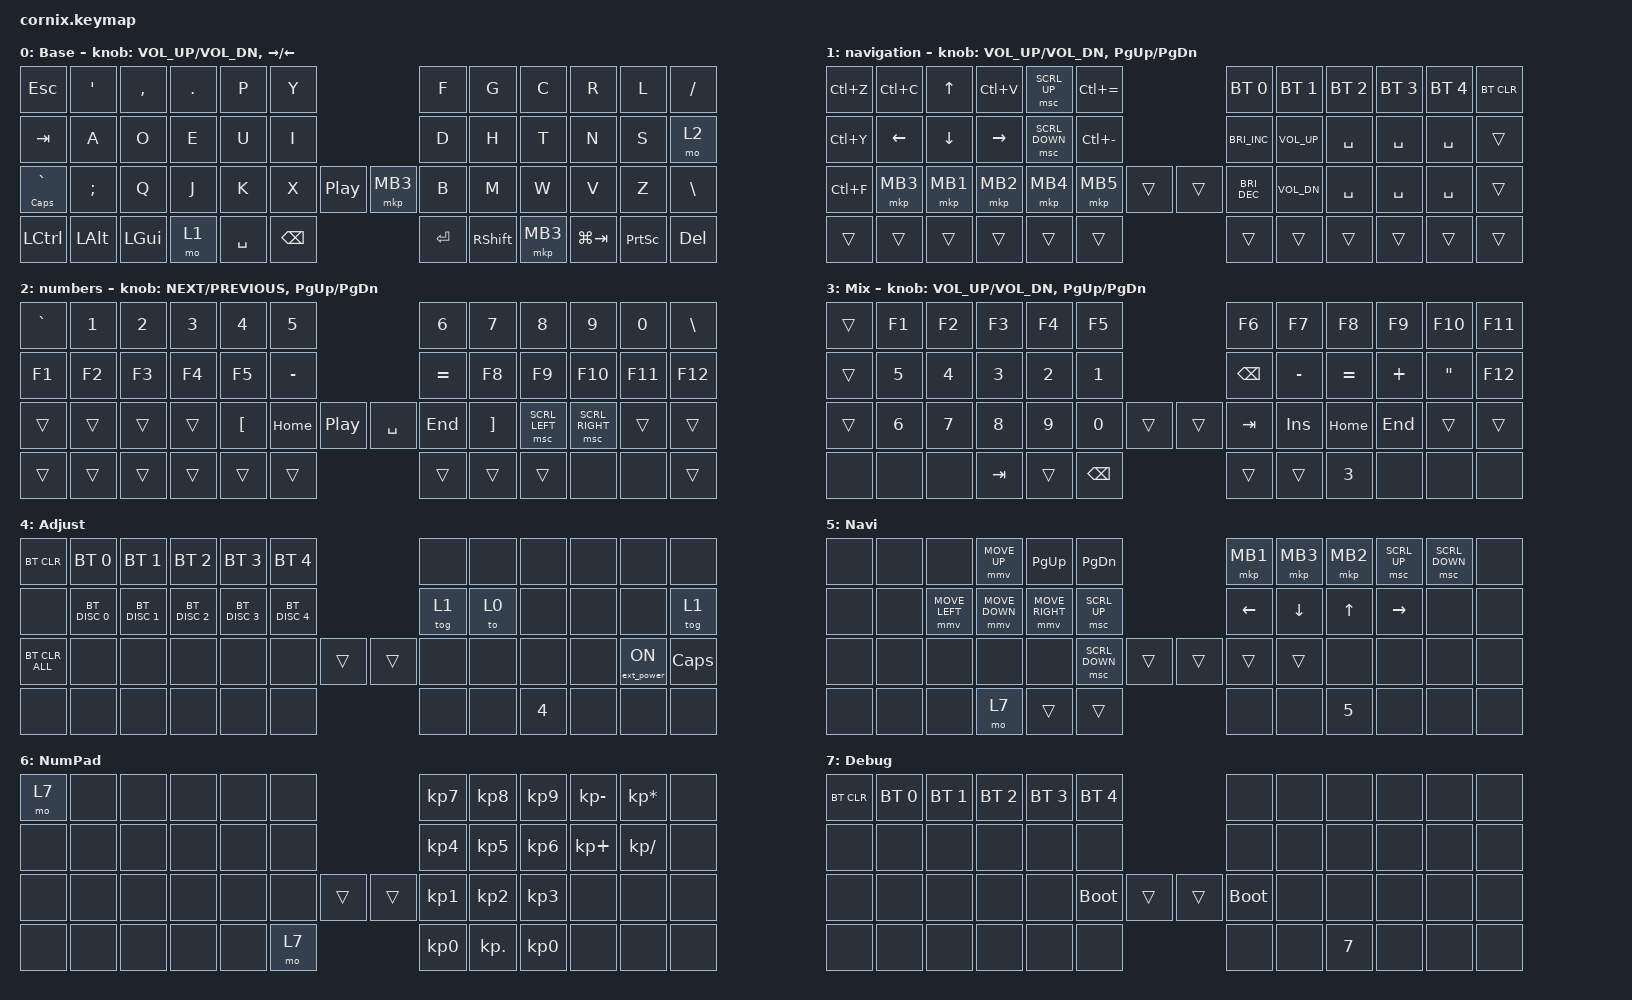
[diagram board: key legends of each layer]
/*
 * Copyright (c) 2020 The ZMK Contributors
 *
 * SPDX-License-Identifier: MIT
 */

#include "zmk-helpers/helper.h"
#include "includes/cornix54.h"

// tap windows for ctl alt and gui

#define HM_TAPPING_TERM 250
#define HM_TAPPING_REPEAT 210

// quick tapping for shift

#define HM_TAPPING_TERM_FAST 200
#define HM_PRIOR_IDLE 70
#define BASE 0
#define WIN 1
#define LOWER 2
#define RAISE 3
#define ADJUST 4
#define NAVI   5
#define NUM    6
#define DEBUG  7

// https://github.com/urob/zmk-config/tree/main#timeless-homerow-mods

#define KEYS_L LT0 LT1 LT2 LT3 LT4 LT5 LM0 LM1 LM2 LM3 LM4 LM5 LB0 LB1 LB2 LB3 LB4 LB5  // left hand
#define KEYS_R RT0 RT1 RT2 RT3 RT4 RT5 RM0 RM1 RM2 RM3 RM4 RM5 RB0 RB1 RB2 RB3 RB4 RB5  // right hand
#define THUMBS LH1 LH0 RH0 RH1
#define KEYS_T LH1 LH0 RH0 RH1
#define ZMK_POINTING_DEFAULT_SCRL_VAL 15

#include <behaviors.dtsi>
#include <dt-bindings/zmk/bt.h>
#include <dt-bindings/zmk/ext_power.h>
#include <dt-bindings/zmk/keys.h>
#include <dt-bindings/zmk/pointing.h>

/ {
    // Activate ADJUST layer by pressing raise and lower

    behaviors {
        hm_l: homerow_mods_left {
            compatible = "zmk,behavior-hold-tap";
            #binding-cells = <2>;
            bindings = <&kp>, <&kp>;

            flavor = "balanced";
            tapping-term-ms = <HM_TAPPING_TERM>;
            quick-tap-ms = <200>;                // repeat on tap-into-hold
            require-prior-idle-ms = <HM_PRIOR_IDLE>;
            hold-trigger-key-positions = <KEYS_R KEYS_T>;
            hold-trigger-on-release;
        };

        hm_r: homerow_mods_right {
            compatible = "zmk,behavior-hold-tap";
            #binding-cells = <2>;
            bindings = <&kp>, <&kp>;

            flavor = "balanced";
            tapping-term-ms = <HM_TAPPING_TERM>;
            quick-tap-ms = <200>;
            require-prior-idle-ms = <HM_PRIOR_IDLE>;
            hold-trigger-key-positions = <KEYS_L KEYS_T>;
            hold-trigger-on-release;
        };

        // Positional Homerow mods for shift
        // Use faster tapping term and disable some features that may
        // cause false negatives.

        hm_shift_l: hm_shift_l {
            compatible = "zmk,behavior-hold-tap";
            #binding-cells = <2>;
            bindings = <&kp>, <&kp>;

            //flavor = "balanced";

            flavor = "balanced";
            tapping-term-ms = <HM_TAPPING_TERM_FAST>;
            quick-tap-ms = <200>;
            require-prior-idle-ms = <HM_PRIOR_IDLE>;
            hold-trigger-key-positions = <KEYS_R KEYS_T>;
            hold-trigger-on-release;
        };

        hm_shift_r: hm_shift_r {
            compatible = "zmk,behavior-hold-tap";
            #binding-cells = <2>;
            bindings = <&kp>, <&kp>;

            flavor = "balanced";
            tapping-term-ms = <HM_TAPPING_TERM_FAST>;
            quick-tap-ms = <200>;
            require-prior-idle-ms = <HM_PRIOR_IDLE>;
            hold-trigger-key-positions = <KEYS_L KEYS_T>;

            // for quick tapping; shift+~

            hold-trigger-on-release;
        };

        /*
         * Non-Positional Homerow Mods
         * Used for &mm_grescm_gui behavior on left hand.
         *
         * Usage: &hm LSHFT T
         * Tap: T
         * Tap-Tap-Hold: Repeat T
         * Hold: LSHIFT
         */

        hm: homerow_mods {
            compatible = "zmk,behavior-hold-tap";
            #binding-cells = <2>;
            bindings = <&kp>, <&kp>;

            flavor = "balanced";
            tapping-term-ms = <HM_TAPPING_TERM>;
            quick-tap-ms = <200>;
        };

        lt: layer_tap {
            compatible = "zmk,behavior-hold-tap";
            #binding-cells = <2>;
            bindings = <&mo>, <&kp>;

            flavor = "hold-preferred";
            tapping-term-ms = <HM_TAPPING_TERM>;
            quick-tap-ms = <200>;
        };
    };

    conditional_layers {
        compatible = "zmk,conditional-layers";

        adjust_layer {
            if-layers = <3 3>;
            then-layer = <4>;
        };
    };

    combos {
        compatible = "zmk,combos";

        cb_ltm {
            bindings = <&kp ESC>;
            key-positions = <2 4>;
            layers = <0 1>;
        };

        cb_lm {
            bindings = <&kp TAB>;
            key-positions = <14 16>;
            layers = <0 1>;
        };

        cb_enter {
            bindings = <&kp RET>;
            key-positions = <21 19>;
            layers = <0 1>;
        };

        layer3 {
            bindings = <&kp N3>;
            key-positions = <5 6>;
        };

        layer4 {
            bindings = <&kp N4>;
            key-positions = <5 6>;
        };
    };

    keymap {
        compatible = "zmk,keymap";

        dvorak {
            display-name = "Base";

            // ------------------------------------------------------------------------------------------------------------
            // |   `   |  1  |  2  |  3   |  4   |  5   |                   |  6   |  7    |  8    |  9   |   0   |       |
            // |  ESC  |  Q  |  W  |  E   |  R   |  T   |                   |  Y   |  U    |  I    |  O   |   P   | BKSPC |
            // |  TAB  |  A  |  S  |  D   |  F   |  G   |                   |  H   |  J    |  K    |  L   |   ;   |   '   |
            // | SHIFT |  Z  |  X  |  C   |  V   |  B   |  MUTE  |  |       |  N   |  M    |  ,    |  .   |   /   | SHIFT |
            //               | GUI | ALT  | CTRL | LOWER|  ENTER |  | SPACE | RAISE| CTRL  | ALT   | GUI  |

            bindings = <
&kp ESC             &kp SQT       &kp COMMA  &kp PERIOD  &kp P      &kp Y                                 &kp F    &kp G      &kp C     &kp R        &kp L            &kp FSLH
&kp TAB             &kp A         &kp O      &kp E       &kp U      &kp I                                 &kp D    &kp H      &kp T     &kp N        &kp S            &mo 2
&mt CAPSLOCK GRAVE  &kp SEMI      &kp Q      &kp J       &kp K      &kp X     &kp C_PLAY_PAUSE  &mkp MB3  &kp B    &kp M      &kp W     &kp V        &kp Z            &kp BACKSLASH
&kp LCTRL           &kp LEFT_ALT  &kp LGUI   &mo 1       &kp SPACE  &kp BSPC                              &kp RET  &kp RSHFT  &mkp MB3  &kp LG(TAB)  &kp PRINTSCREEN  &kp DEL
            >;

            sensor-bindings =
                <&inc_dec_kp C_VOL_UP C_VOL_DN>,
                <&inc_dec_kp RIGHT LEFT_ARROW>;
        };

        navs {
            display-name = "navigation";

            // TODO: Some binds are waiting for shifted keycode support.
            // -------------------------------
            // |       |  F1 |  F2 |  F3  |  F4  |  F5  |                   |  F6  |  F7   |  F8   |  F9  |  F10  |  F11  |
            // |   `   |  1  |  2  |  3   |  4   |  5   |                   |  6   |  7    |  8    |  9   |   0   |  F12  |
            // |       |  !  |  @  |  #   |  $   |  %   |                   |  ^   |  &    |  *    |  (   |   )   |   |   |
            // |       |  =  |  -  |  +   |  {   |  }   |        |  |       |  [   |  ]    |  ;    |  :   |   \   |       |
            //               |     |      |      |      |        |  |       |      |       |       |      |

            bindings = <
&kp LC(Z)  &kp LC(C)  &kp UP    &kp LC(V)  &msc SCRL_UP    &kp LC(EQUAL)                  &bt BT_SEL 0          &bt BT_SEL 1  &bt BT_SEL 2  &bt BT_SEL 3  &bt BT_SEL 4  &bt BT_CLR
&kp LC(Y)  &kp LEFT   &kp DOWN  &kp RIGHT  &msc SCRL_DOWN  &kp LC(MINUS)                  &kp C_BRIGHTNESS_INC  &kp C_VOL_UP  &kp SPACE     &kp SPACE     &kp SPACE     &trans
&kp LC(F)  &mkp MB3   &mkp MB1  &mkp MB2   &mkp MB4        &mkp MB5       &trans  &trans  &kp C_BRIGHTNESS_DEC  &kp C_VOL_DN  &kp SPACE     &kp SPACE     &kp SPACE     &trans
&trans     &trans     &trans    &trans     &trans          &trans                         &trans                &trans        &trans        &trans        &trans        &trans
            >;

            sensor-bindings = <&inc_dec_kp C_VOL_UP C_VOL_DN &inc_dec_kp PG_UP PG_DN>;
        };

        nums {
            display-name = "numbers";

            // ------------------------------------------------------------------------------------------------------------
            // |   `   |  1  |  2  |  3   |  4   |  5   |                   |  6   |  7    |  8    |  9   |   0   |       |
            // |  ESC  |  Q  |  W  |  E   |  R   |  T   |                   |  Y   |  U    |  I    |  O   |   P   | BKSPC |
            // |  TAB  |  A  |  S  |  D   |  F   |  G   |                   |  H   |  J    |  K    |  L   |   ;   |   '   |
            // | SHIFT |  Z  |  X  |  C   |  V   |  B   |  MUTE  |  |       |  N   |  M    |  ,    |  .   |   /   | SHIFT |
            //               | GUI | ALT  | CTRL | LOWER|  ENTER |  | SPACE | RAISE| CTRL  | ALT   | GUI  |

            bindings = <
&kp GRAVE  &kp N1  &kp N2  &kp N3  &kp N4    &kp N5                                  &kp N6     &kp N7    &kp N8          &kp N9           &kp N0   &kp BSLH
&kp F1     &kp F2  &kp F3  &kp F4  &kp F5    &kp MINUS                               &kp EQUAL  &kp F8    &kp F9          &kp F10          &kp F11  &kp F12
&trans     &trans  &trans  &trans  &kp LBKT  &kp HOME   &kp C_PLAY_PAUSE  &kp SPACE  &kp END    &kp RBKT  &msc SCRL_LEFT  &msc SCRL_RIGHT  &trans   &trans
&trans     &trans  &trans  &trans  &trans    &trans                                  &trans     &trans    &trans          &none            &none    &trans
            >;

            sensor-bindings =
                <&inc_dec_kp C_NEXT C_PREVIOUS>,
                <&inc_dec_kp PG_UP PG_DN>;
        };

        Mix_layer {
            display-name = "Mix";

            // ------------------------------------------------------------------------------------------------------------
            // | BTCLR | BT1  | BT2  |  BT3  |  BT4  |  BT5 |                |      |      |       |      |       |       |
            // |       | INS  | PSCR | GUI   |       |      |                | PGUP |      |   ^   |      |       |       |
            // |       | ALT  | CTRL | SHIFT |       | CAPS |                | PGDN |   <- |   v   |  ->  |  DEL  | BKSPC |
            // |       | UNDO | CUT  | COPY  | PASTE |      |      |  |      |      |      |       |      |       |       |
            //                |      |       |       |      |      |  |      |      |      |       |      |

            bindings = <
&trans  &kp F1  &kp F2  &kp F3   &kp F4  &kp F5                         &kp F6    &kp F7     &kp F8     &kp F9    &kp F10  &kp F11
&trans  &kp N5  &kp N4  &kp N3   &kp N2  &kp N1                         &kp BSPC  &kp MINUS  &kp EQUAL  &kp PLUS  &kp DQT  &kp F12
&trans  &kp N6  &kp N7  &kp N8   &kp N9  &kp N0         &trans  &trans  &kp TAB   &kp INS    &kp HOME   &kp END   &trans   &trans
&none   &none   &none   &kp TAB  &trans  &kp BACKSPACE                  &trans    &trans     &kp N3     &none     &none    &none
            >;

            sensor-bindings = <&inc_dec_kp C_VOL_UP C_VOL_DN &inc_dec_kp PG_UP PG_DN>;
        };

        Adjust_layer {
            display-name = "Adjust";

            // ----------------------------------------------------------------------------------------------------------------------------
            // | BTCLR  |  BT1    |  BT2    |   BT3   |   BT4   |   BT5   |                  |      |      |       |      |       |       |
            // | moDEBUG| RGB_HUD | RGB_HUI | RGB_SAD | RGB_SAI | RGB_EFF |                  |      |      |       |      |       |       |
            // | EXTPWR | RGB_BRD | RGB_BRI |         |         |         |                  |      |      |       |      |       |       |
            // |        |         |         |         |         |         | RGB_TOG | |      |      |      |       |      |       |       |
            //                    |         |         |         |         |         | |      |      |      |       |      |

            bindings = <
&bt BT_CLR      &bt BT_SEL 0   &bt BT_SEL 1   &bt BT_SEL 2   &bt BT_SEL 3   &bt BT_SEL 4                   &none   &none  &none   &none  &none             &none
&none           &bt BT_DISC 0  &bt BT_DISC 1  &bt BT_DISC 2  &bt BT_DISC 3  &bt BT_DISC 4                  &tog 1  &to 0  &none   &none  &none             &tog 1
&bt BT_CLR_ALL  &none          &none          &none          &none          &none          &trans  &trans  &none   &none  &none   &none  &ext_power EP_ON  &kp CAPSLOCK
&none           &none          &none          &none          &none          &none                          &none   &none  &kp N4  &none  &none             &none
            >;
        };

        Navi_layer {
            display-name = "Navi";
            bindings = <
&none  &none  &none           &mmv MOVE_UP    &kp PAGE_UP      &kp PAGE_DOWN                   &mkp MB1  &mkp MB3  &mkp MB2  &msc SCRL_UP  &msc SCRL_DOWN  &none
&none  &none  &mmv MOVE_LEFT  &mmv MOVE_DOWN  &mmv MOVE_RIGHT  &msc SCRL_UP                    &kp LEFT  &kp DOWN  &kp UP    &kp RIGHT     &none           &none
&none  &none  &none           &none           &none            &msc SCRL_DOWN  &trans  &trans  &trans    &trans    &none     &none         &none           &none
&none  &none  &none           &mo 7           &trans           &trans                          &none     &none     &kp N5    &none         &none           &none
            >;
        };

        KeyPad_layer {
            display-name = "NumPad";
            bindings = <
&mo 7  &none  &none  &none  &none  &none                  &kp KP_N7        &kp KP_N8        &kp KP_N9        &kp KP_MINUS  &kp KP_MULTIPLY  &none
&none  &none  &none  &none  &none  &none                  &kp KP_NUMBER_4  &kp KP_NUMBER_5  &kp KP_N6        &kp KP_PLUS   &kp KP_DIVIDE    &none
&none  &none  &none  &none  &none  &none  &trans  &trans  &kp KP_NUMBER_1  &kp KP_NUMBER_2  &kp KP_N3        &none         &none            &none
&none  &none  &none  &none  &none  &mo 7                  &kp KP_N0        &kp KP_DOT       &kp KP_NUMBER_0  &none         &none            &none
            >;
        };

        Debug_layer {
            display-name = "Debug";

            // ----------------------------------------------------------------------------------------------------------------------------
            // | BTCLR  |  BT1    |  BT2    |   BT3   |   BT4   |   BT5   |                  |      |      |       |      |       |       |
            // | EXTPWR | BTCLR | RGB_HUI | RGB_SAD | RGB_SAI | RGB_EFF |                  |      |      |       |      |       |       |
            // |        | RGB_BRD | RGB_BRI |         |         |         |                  |      |      |       |      |       |       |
            // |        |         |         |         |         |         | RGB_TOG | |      |      |      |       |      |       |       |
            //                    |         |         |         |         |         | |      |      |      |       |      |

            bindings = <
&bt BT_CLR  &bt BT_SEL 0  &bt BT_SEL 1  &bt BT_SEL 2  &bt BT_SEL 3  &bt BT_SEL 4                  &none        &none  &none   &none  &none  &none
&none       &none         &none         &none         &none         &none                         &none        &none  &none   &none  &none  &none
&none       &none         &none         &none         &none         &bootloader   &trans  &trans  &bootloader  &none  &none   &none  &none  &none
&none       &none         &none         &none         &none         &none                         &none        &none  &kp N7  &none  &none  &none
            >;
        };
    };
};
